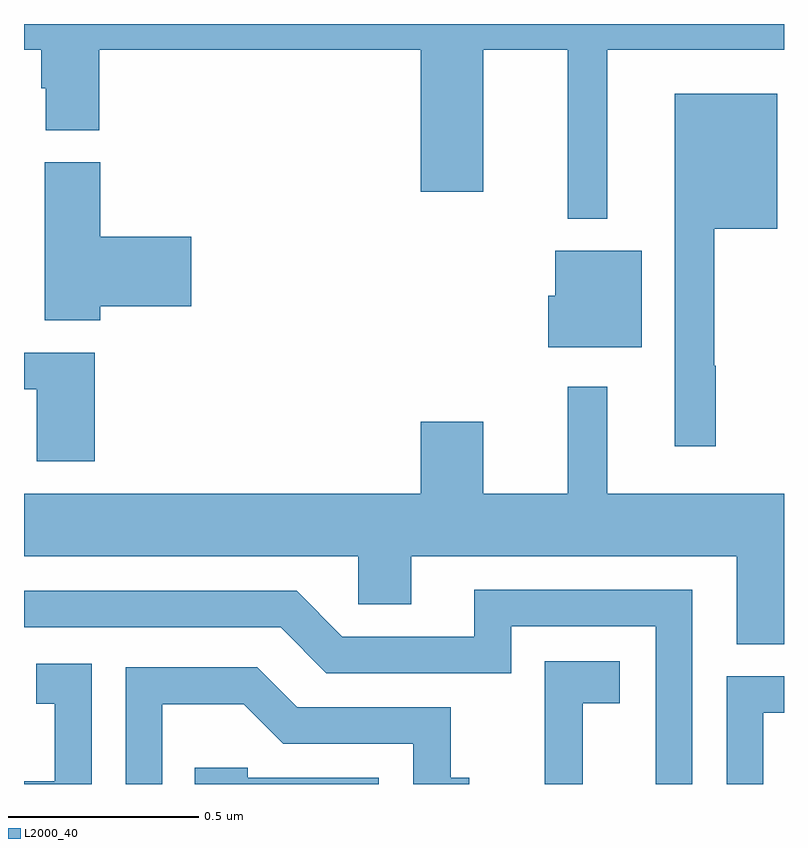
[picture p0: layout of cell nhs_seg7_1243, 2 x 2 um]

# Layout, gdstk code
import gdstk
lib = gdstk.Library(unit=1e-6, precision=1e-09)
def P(c, l, *ps):  # polygons
    for p in ps: c.add(gdstk.Polygon(p, *l))
L2000_40 = (2000, 40)

nhs_seg7_1243 = lib.new_cell('nhs_seg7_1243')
P(nhs_seg7_1243, L2000_40, [(129.535,1017.932),(130,1017.932),(130,1018),(128,1018),(128,1017.932),(128.045,1017.932),(128.045,1017.831),(128.057,1017.831),(128.057,1017.721),(128.198,1017.721),(128.198,1017.932),(129.044,1017.932),(129.044,1017.558),(129.208,1017.558),(129.208,1017.932),(129.431,1017.932),(129.431,1017.488),(129.535,1017.488)],
  [(129.82,1017.101),(129.817,1017.101),(129.817,1017.461),(129.982,1017.461),(129.982,1017.817),(129.713,1017.817),(129.713,1016.889),(129.82,1016.889)],
  [(128.201,1017.257),(128.44,1017.257),(128.44,1017.44),(128.201,1017.44),(128.201,1017.636),(128.054,1017.636),(128.054,1017.22),(128.201,1017.22)],
  [(129.625,1017.403),(129.398,1017.403),(129.398,1017.285),(129.38,1017.285),(129.38,1017.149),(129.625,1017.149)],
  [(128.186,1017.135),(128,1017.135),(128,1017.039),(128.033,1017.039),(128.033,1016.85),(128.186,1016.85)],
  [(130,1016.764),(129.535,1016.764),(129.535,1017.046),(129.431,1017.046),(129.431,1016.764),(129.208,1016.764),(129.208,1016.953),(129.044,1016.953),(129.044,1016.764),(128,1016.764),(128,1016.6),(128.88,1016.6),(128.88,1016.473),(129.019,1016.473),(129.019,1016.6),(129.875,1016.6),(129.875,1016.368),(130,1016.368)],
  [(129.759,1016.511),(129.185,1016.511),(129.185,1016.388),(128.838,1016.388),(128.718,1016.508),(128,1016.508),(128,1016.412),(128.676,1016.412),(128.796,1016.292),(129.282,1016.292),(129.282,1016.415),(129.663,1016.415),(129.663,1016),(129.759,1016)],
  [(129.47,1016.213),(129.568,1016.213),(129.568,1016.323),(129.37,1016.323),(129.37,1016.117),(129.371,1016.117),(129.371,1016),(129.47,1016)],
  [(128.178,1016.317),(128.032,1016.317),(128.032,1016.211),(128.081,1016.211),(128.081,1016.007),(128,1016.007),(128,1016),(128.178,1016)],
  [(128.364,1016.21),(128.578,1016.21),(128.682,1016.106),(129.024,1016.106),(129.024,1016),(129.172,1016),(129.172,1016.017),(129.123,1016.017),(129.123,1016.202),(128.719,1016.202),(128.614,1016.307),(128.268,1016.307),(128.268,1016),(128.364,1016)],
  [(129.945,1016.187),(130,1016.187),(130,1016.283),(129.849,1016.283),(129.849,1016),(129.945,1016)],
  [(128.934,1016.016),(128.589,1016.016),(128.589,1016.043),(128.449,1016.043),(128.449,1016),(128.934,1016)])

lib.write_gds('nhs_seg7_1243.gds')
